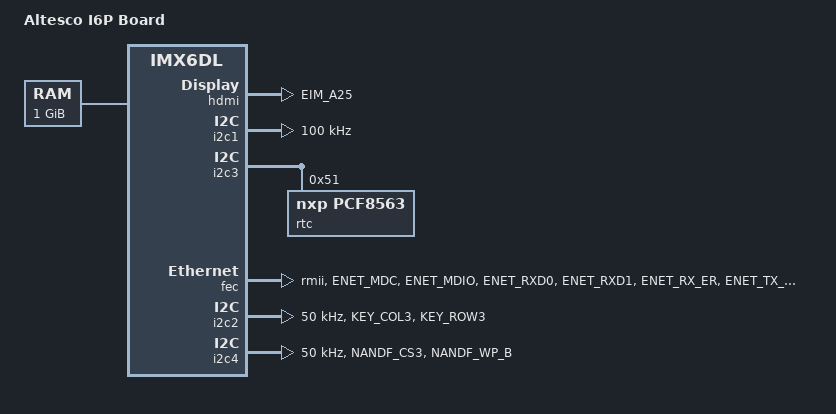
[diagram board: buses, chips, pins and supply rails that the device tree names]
// SPDX-License-Identifier: GPL-2.0-or-later OR MIT
/*
 * Copyright (c) 2016 Protonic Holland
 */

/dts-v1/;
#include <arm/imx6dl.dtsi>
#include "imx6qdl-prti6q.dtsi"

/ {
	model = "Altesco I6P Board";
	compatible = "alt,alti6p", "fsl,imx6dl";

	memory@10000000 {
		device_type = "memory";
		reg = <0x10000000 0x40000000>;
	};
};

&hdmi {
	pinctrl-names = "default";
	pinctrl-0 = <&pinctrl_hdmi>;
	ddc-i2c-bus = <&i2c1>;
	status = "okay";
};

/* DDC */
&i2c1 {
	clock-frequency = <100000>;
	pinctrl-names = "default";
	pinctrl-0 = <&pinctrl_i2c1>;
	status = "okay";
};

&i2c3 {
	rtc: pcf8563@51 {
		compatible = "nxp,pcf8563";
		reg = <0x51>;
	};
};

&fec {
	pinctrl-names = "default";
	pinctrl-0 = <&pinctrl_enet>;
	phy-mode = "rmii";
	phy-reset-gpios = <&gpio5 22 GPIO_ACTIVE_LOW>;
	clocks = <&clks IMX6QDL_CLK_ENET>,
		 <&clks IMX6QDL_CLK_ENET>;
	clock-names = "ipg", "ahb";
	status = "okay";
};

&i2c2 {
	clock-frequency = <50000>;
	pinctrl-names = "default";
	pinctrl-0 = <&pinctrl_i2c2>;
	status = "okay";
};

&i2c4 {
	clock-frequency = <50000>;
	pinctrl-names = "default";
	pinctrl-0 = <&pinctrl_i2c4>;
	status = "okay";
};

&iomuxc {
	pinctrl_usbotg: usbotggrp {
		fsl,pins = <
			MX6QDL_PAD_ENET_RX_ER__USB_OTG_ID	0x1f058
			MX6QDL_PAD_EIM_D21__USB_OTG_OC		0x1b0b0
			/* power enable, high active */
			MX6QDL_PAD_EIM_D22__GPIO3_IO22		0x1b0b0
		>;
	};

	pinctrl_hdmi: hdmigrp {
		fsl,pins = <
			/* NOTE: DDC is done via I2C2, so DON'T configure DDC pins for HDMI! */
			MX6QDL_PAD_EIM_A25__HDMI_TX_CEC_LINE	0x1f8b0
		>;
	};

	pinctrl_i2c2: i2c2grp {
		fsl,pins = <
			MX6QDL_PAD_KEY_COL3__I2C2_SCL		0x4001b8b1
			MX6QDL_PAD_KEY_ROW3__I2C2_SDA		0x4001b8b1
		>;
	};

	pinctrl_i2c4: i2c4grp {
		fsl,pins = <
			MX6QDL_PAD_NANDF_CS3__I2C4_SDA		0x4001f8b1
			MX6QDL_PAD_NANDF_WP_B__I2C4_SCL		0x4001f8b1
		>;
	};

	pinctrl_enet: enetgrp {
		fsl,pins = <
			/* MX6QDL_ENET_PINGRP4 */
			MX6QDL_PAD_ENET_MDC__ENET_MDC           0x1b0b0
			MX6QDL_PAD_ENET_MDIO__ENET_MDIO         0x1b0b0
			MX6QDL_PAD_ENET_RXD0__ENET_RX_DATA0     0x1b0b0
			MX6QDL_PAD_ENET_RXD1__ENET_RX_DATA1     0x1b0b0
			MX6QDL_PAD_ENET_RX_ER__ENET_RX_ER       0x1b0b0
			MX6QDL_PAD_ENET_TX_EN__ENET_TX_EN       0x1b0b0
			MX6QDL_PAD_ENET_TXD0__ENET_TX_DATA0     0x1b0b0
			MX6QDL_PAD_ENET_TXD1__ENET_TX_DATA1     0x1b0b0
			MX6QDL_PAD_ENET_CRS_DV__ENET_RX_EN      0x1b0b0

			MX6QDL_PAD_GPIO_16__ENET_REF_CLK   0x1b0b0
			/* Phy reset */
			MX6QDL_PAD_CSI0_DAT4__GPIO5_IO22   0x1b0b0
			/* nINTRP */
			MX6QDL_PAD_CSI0_DAT5__GPIO5_IO23   0x1b0b0
		>;
	};
};
